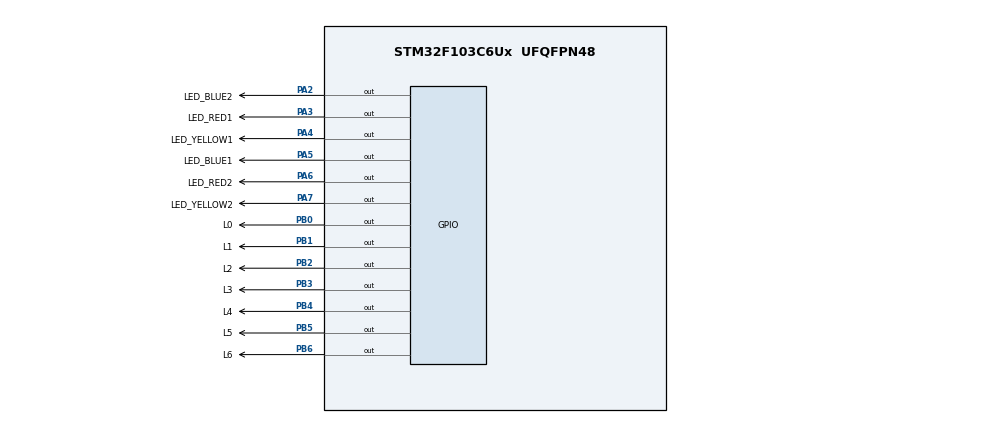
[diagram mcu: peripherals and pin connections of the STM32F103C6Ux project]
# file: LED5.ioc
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Mcu.Family=STM32F1
Mcu.Name=STM32F103C6Ux
Mcu.Package=UFQFPN48
NVIC.PriorityGroup=NVIC_PRIORITYGROUP_4
PA2.GPIO_Label=LED_BLUE2
PA2.Signal=GPIO_Output
PA3.GPIO_Label=LED_RED1
PA3.Signal=GPIO_Output
PA4.GPIO_Label=LED_YELLOW1
PA4.Signal=GPIO_Output
PA5.GPIO_Label=LED_BLUE1
PA5.Signal=GPIO_Output
PA6.GPIO_Label=LED_RED2
PA6.Signal=GPIO_Output
PA7.GPIO_Label=LED_YELLOW2
PA7.Signal=GPIO_Output
PB0.GPIO_Label=L0
PB0.Signal=GPIO_Output
PB1.GPIO_Label=L1
PB1.Signal=GPIO_Output
PB2.GPIO_Label=L2
PB2.Signal=GPIO_Output
PB3.GPIO_Label=L3
PB3.Signal=GPIO_Output
PB4.GPIO_Label=L4
PB4.Signal=GPIO_Output
PB5.GPIO_Label=L5
PB5.Signal=GPIO_Output
PB6.GPIO_Label=L6
PB6.Signal=GPIO_Output
ProjectManager.HeapSize=0x200
ProjectManager.StackSize=0x400
ProjectManager.TargetToolchain=STM32CubeIDE
RCC.APB1Freq_Value=8000000
RCC.APB2Freq_Value=8000000
VP_SYS_VS_ND.Mode=No_Debug
board=custom

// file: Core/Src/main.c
/* USER CODE BEGIN Header */
/**
  ******************************************************************************
  * @file           : main.c
  * @brief          : Main program body
  ******************************************************************************
  * @attention
  *
  * <h2><center>&copy; Copyright (c) 2022 STMicroelectronics.
  * All rights reserved.</center></h2>
  *
  * This software component is licensed by ST under BSD 3-Clause license,
  * the "License"; You may not use this file except in compliance with the
  * License. You may obtain a copy of the License at:
  *                        opensource.org/licenses/BSD-3-Clause
  *
  ******************************************************************************
  */
/* USER CODE END Header */
#include "main.h"

void SystemClock_Config(void);
static void MX_GPIO_Init(void);

int main(void)
{

  /* MCU Configuration--------------------------------------------------------*/

  /* Reset of all peripherals, Initializes the Flash interface and the Systick. */
  HAL_Init();

  /* Configure the system clock */
  SystemClock_Config();

  /* Initialize all configured peripherals */
  MX_GPIO_Init();
  /* USER CODE BEGIN 2 */
  void reset()//tat tat ca den
     {
   	HAL_GPIO_WritePin(L0_GPIO_Port, L0_Pin, 1);
   	HAL_GPIO_WritePin(L1_GPIO_Port, L1_Pin, 1);
   	HAL_GPIO_WritePin(L2_GPIO_Port, L2_Pin, 1);
   	HAL_GPIO_WritePin(L3_GPIO_Port, L3_Pin, 1);
   	HAL_GPIO_WritePin(L4_GPIO_Port, L4_Pin, 1);
   	HAL_GPIO_WritePin(L5_GPIO_Port, L5_Pin, 1);
   	HAL_GPIO_WritePin(L6_GPIO_Port, L6_Pin, 1);

     }
  void display7SEG(int nums)
      {
	  reset();
	  switch(nums)
	  {
	  case 0://so 0
	  {
		HAL_GPIO_WritePin(L0_GPIO_Port, L0_Pin, 0);
		HAL_GPIO_WritePin(L1_GPIO_Port, L1_Pin, 0);
		HAL_GPIO_WritePin(L2_GPIO_Port, L2_Pin, 0);
		HAL_GPIO_WritePin(L3_GPIO_Port, L3_Pin, 0);
		HAL_GPIO_WritePin(L4_GPIO_Port, L4_Pin, 0);
		HAL_GPIO_WritePin(L5_GPIO_Port, L5_Pin, 0);
		break;
	  }
	  case 1://so 1
	  {
		HAL_GPIO_WritePin(L1_GPIO_Port, L1_Pin, 0);
		HAL_GPIO_WritePin(L2_GPIO_Port, L2_Pin, 0);
		break;
	  }
	  case 2:{//so 2
			HAL_GPIO_WritePin(L0_GPIO_Port, L0_Pin, 0);
			HAL_GPIO_WritePin(L1_GPIO_Port, L1_Pin, 0);
			HAL_GPIO_WritePin(L3_GPIO_Port, L3_Pin, 0);
			HAL_GPIO_WritePin(L4_GPIO_Port, L4_Pin, 0);
			HAL_GPIO_WritePin(L6_GPIO_Port, L6_Pin, 0);
			break;
		  }
	  case 3:{//so 3
			HAL_GPIO_WritePin(L0_GPIO_Port, L0_Pin, 0);
			HAL_GPIO_WritePin(L1_GPIO_Port, L1_Pin, 0);
			HAL_GPIO_WritePin(L2_GPIO_Port, L2_Pin, 0);
			HAL_GPIO_WritePin(L3_GPIO_Port, L3_Pin, 0);
			HAL_GPIO_WritePin(L6_GPIO_Port, L6_Pin, 0);
			break;
		  }
	  case 4:{//so 4
			HAL_GPIO_WritePin(L1_GPIO_Port, L1_Pin, 0);
			HAL_GPIO_WritePin(L2_GPIO_Port, L2_Pin, 0);
			HAL_GPIO_WritePin(L5_GPIO_Port, L5_Pin, 0);
			HAL_GPIO_WritePin(L6_GPIO_Port, L6_Pin, 0);
			break;
		  }
	  case 5:{//so 5
			HAL_GPIO_WritePin(L0_GPIO_Port, L0_Pin, 0);
			HAL_GPIO_WritePin(L2_GPIO_Port, L2_Pin, 0);
			HAL_GPIO_WritePin(L3_GPIO_Port, L3_Pin, 0);
			HAL_GPIO_WritePin(L5_GPIO_Port, L5_Pin, 0);
			HAL_GPIO_WritePin(L6_GPIO_Port, L6_Pin, 0);
			break;
		  }
	  case 6:{//so 6
			HAL_GPIO_WritePin(L0_GPIO_Port, L0_Pin, 0);
			HAL_GPIO_WritePin(L2_GPIO_Port, L2_Pin, 0);
			HAL_GPIO_WritePin(L3_GPIO_Port, L3_Pin, 0);
			HAL_GPIO_WritePin(L4_GPIO_Port, L4_Pin, 0);
			HAL_GPIO_WritePin(L5_GPIO_Port, L5_Pin, 0);
			HAL_GPIO_WritePin(L6_GPIO_Port, L6_Pin, 0);
			break;
		  }
	  case 7:{//so 7
			HAL_GPIO_WritePin(L0_GPIO_Port, L0_Pin, 0);
			HAL_GPIO_WritePin(L1_GPIO_Port, L1_Pin, 0);
			HAL_GPIO_WritePin(L2_GPIO_Port, L2_Pin, 0);
			break;
		  }
	  case 8:{//so 8
			HAL_GPIO_WritePin(L0_GPIO_Port, L0_Pin, 0);
			HAL_GPIO_WritePin(L1_GPIO_Port, L1_Pin, 0);
			HAL_GPIO_WritePin(L2_GPIO_Port, L2_Pin, 0);
			HAL_GPIO_WritePin(L3_GPIO_Port, L3_Pin, 0);
			HAL_GPIO_WritePin(L4_GPIO_Port, L4_Pin, 0);
			HAL_GPIO_WritePin(L5_GPIO_Port, L5_Pin, 0);
			HAL_GPIO_WritePin(L6_GPIO_Port, L6_Pin, 0);
			break;
		  }
	  case 9:{//so 9
			HAL_GPIO_WritePin(L0_GPIO_Port, L0_Pin, 0);
			HAL_GPIO_WritePin(L1_GPIO_Port, L1_Pin, 0);
			HAL_GPIO_WritePin(L2_GPIO_Port, L2_Pin, 0);
			HAL_GPIO_WritePin(L3_GPIO_Port, L3_Pin, 0);
			HAL_GPIO_WritePin(L5_GPIO_Port, L5_Pin, 0);
			HAL_GPIO_WritePin(L6_GPIO_Port, L6_Pin, 0);
			break;
	  default : break;}
	  }
      }
  	  // 1 la off, 0 la on;
  	     int count_led_do_1=9;
		 int count_led_vang_1=2;
		 int count_led_xanh_1=6;
  /* USER CODE END 2 */

  /* Infinite loop */
  	 /* USER CODE BEGIN WHILE */
	   while (1)
	   {
		   //den do sang 10s , den vang sang 3 giay, den xanh sang 7s

		  if(count_led_do_1>=3)
		 {
			  HAL_GPIO_WritePin(LED_RED1_GPIO_Port, LED_RED1_Pin, 0);
			  HAL_GPIO_WritePin(LED_YELLOW1_GPIO_Port, LED_YELLOW1_Pin, 1);
			  HAL_GPIO_WritePin(LED_BLUE1_GPIO_Port, LED_BLUE1_Pin, 1);
			  HAL_GPIO_WritePin(LED_RED2_GPIO_Port, LED_RED2_Pin, 1);
			  HAL_GPIO_WritePin(LED_YELLOW2_GPIO_Port, LED_YELLOW2_Pin, 1);
			  HAL_GPIO_WritePin(LED_BLUE2_GPIO_Port, LED_BLUE2_Pin, 0);
			  display7SEG(count_led_do_1);count_led_do_1--;
		 }
		  else if(count_led_do_1>=0&&count_led_do_1<=2)
		 {
			  HAL_GPIO_WritePin(LED_RED1_GPIO_Port, LED_RED1_Pin, 0);
			  HAL_GPIO_WritePin(LED_YELLOW1_GPIO_Port, LED_YELLOW1_Pin, 1);
			  HAL_GPIO_WritePin(LED_BLUE1_GPIO_Port, LED_BLUE1_Pin, 1);
			  HAL_GPIO_WritePin(LED_RED2_GPIO_Port, LED_RED2_Pin, 1);
			  HAL_GPIO_WritePin(LED_YELLOW2_GPIO_Port, LED_YELLOW2_Pin, 0);
			  HAL_GPIO_WritePin(LED_BLUE2_GPIO_Port, LED_BLUE2_Pin, 1);
			  display7SEG(count_led_do_1);count_led_do_1-- ;
		 }
		  else if(count_led_do_1<0&&count_led_xanh_1>=0)
		 {
			  HAL_GPIO_WritePin(LED_RED1_GPIO_Port, LED_RED1_Pin, 1);
			  HAL_GPIO_WritePin(LED_YELLOW1_GPIO_Port, LED_YELLOW1_Pin, 1);
			  HAL_GPIO_WritePin(LED_BLUE1_GPIO_Port, LED_BLUE1_Pin, 0);
			  HAL_GPIO_WritePin(LED_RED2_GPIO_Port, LED_RED2_Pin, 0);
			  HAL_GPIO_WritePin(LED_YELLOW2_GPIO_Port, LED_YELLOW2_Pin,1);
			  HAL_GPIO_WritePin(LED_BLUE2_GPIO_Port, LED_BLUE2_Pin, 1);
			  display7SEG(count_led_xanh_1);count_led_xanh_1--;
		 }
		  else if(count_led_do_1<0&&count_led_xanh_1<0&&count_led_vang_1>=0)
		 {
			  HAL_GPIO_WritePin(LED_RED1_GPIO_Port, LED_RED1_Pin, 1);
			  HAL_GPIO_WritePin(LED_YELLOW1_GPIO_Port, LED_YELLOW1_Pin, 0);
			  HAL_GPIO_WritePin(LED_BLUE1_GPIO_Port, LED_BLUE1_Pin, 1);
			  HAL_GPIO_WritePin(LED_RED2_GPIO_Port, LED_RED2_Pin, 0);
			  HAL_GPIO_WritePin(LED_YELLOW2_GPIO_Port, LED_YELLOW2_Pin, 1);
			  HAL_GPIO_WritePin(LED_BLUE2_GPIO_Port, LED_BLUE2_Pin, 1);
			  display7SEG(count_led_vang_1);count_led_vang_1--;

		 }
		   if(count_led_vang_1<0){count_led_do_1=9;count_led_vang_1=2;count_led_xanh_1=6;}
		 HAL_Delay(1000);
	     /* USER CODE END WHILE */

  }
}

void SystemClock_Config(void)
{
  RCC_OscInitTypeDef RCC_OscInitStruct = {0};
  RCC_ClkInitTypeDef RCC_ClkInitStruct = {0};

  /** Initializes the RCC Oscillators according to the specified parameters
  * in the RCC_OscInitTypeDef structure.
  */
  RCC_OscInitStruct.OscillatorType = RCC_OSCILLATORTYPE_HSI;
  RCC_OscInitStruct.HSIState = RCC_HSI_ON;
  RCC_OscInitStruct.HSICalibrationValue = RCC_HSICALIBRATION_DEFAULT;
  RCC_OscInitStruct.PLL.PLLState = RCC_PLL_NONE;
  if (HAL_RCC_OscConfig(&RCC_OscInitStruct) != HAL_OK)
  {
    Error_Handler();
  }
  /** Initializes the CPU, AHB and APB buses clocks
  */
  RCC_ClkInitStruct.ClockType = RCC_CLOCKTYPE_HCLK|RCC_CLOCKTYPE_SYSCLK
                              |RCC_CLOCKTYPE_PCLK1|RCC_CLOCKTYPE_PCLK2;
  RCC_ClkInitStruct.SYSCLKSource = RCC_SYSCLKSOURCE_HSI;
  RCC_ClkInitStruct.AHBCLKDivider = RCC_SYSCLK_DIV1;
  RCC_ClkInitStruct.APB1CLKDivider = RCC_HCLK_DIV1;
  RCC_ClkInitStruct.APB2CLKDivider = RCC_HCLK_DIV1;

  if (HAL_RCC_ClockConfig(&RCC_ClkInitStruct, FLASH_LATENCY_0) != HAL_OK)
  {
    Error_Handler();
  }
}

static void MX_GPIO_Init(void)
{
  GPIO_InitTypeDef GPIO_InitStruct = {0};

  /* GPIO Ports Clock Enable */
  __HAL_RCC_GPIOA_CLK_ENABLE();
  __HAL_RCC_GPIOB_CLK_ENABLE();

  /*Configure GPIO pin Output Level */
  HAL_GPIO_WritePin(GPIOA, LED_BLUE2_Pin|LED_RED1_Pin|LED_YELLOW1_Pin|LED_BLUE1_Pin
                          |LED_RED2_Pin|LED_YELLOW2_Pin, GPIO_PIN_RESET);

  /*Configure GPIO pin Output Level */
  HAL_GPIO_WritePin(GPIOB, L0_Pin|L1_Pin|L2_Pin|L3_Pin
                          |L4_Pin|L5_Pin|L6_Pin, GPIO_PIN_RESET);

  /*Configure GPIO pins : LED_BLUE2_Pin LED_RED1_Pin LED_YELLOW1_Pin LED_BLUE1_Pin
                           LED_RED2_Pin LED_YELLOW2_Pin */
  GPIO_InitStruct.Pin = LED_BLUE2_Pin|LED_RED1_Pin|LED_YELLOW1_Pin|LED_BLUE1_Pin
                          |LED_RED2_Pin|LED_YELLOW2_Pin;
  GPIO_InitStruct.Mode = GPIO_MODE_OUTPUT_PP;
  GPIO_InitStruct.Pull = GPIO_NOPULL;
  GPIO_InitStruct.Speed = GPIO_SPEED_FREQ_LOW;
  HAL_GPIO_Init(GPIOA, &GPIO_InitStruct);

  /*Configure GPIO pins : L0_Pin L1_Pin L2_Pin L3_Pin
                           L4_Pin L5_Pin L6_Pin */
  GPIO_InitStruct.Pin = L0_Pin|L1_Pin|L2_Pin|L3_Pin
                          |L4_Pin|L5_Pin|L6_Pin;
  GPIO_InitStruct.Mode = GPIO_MODE_OUTPUT_PP;
  GPIO_InitStruct.Pull = GPIO_NOPULL;
  GPIO_InitStruct.Speed = GPIO_SPEED_FREQ_LOW;
  HAL_GPIO_Init(GPIOB, &GPIO_InitStruct);

}

void Error_Handler(void)
{
  __disable_irq();
  while (1)
  {
  }
}

/************************ (C) COPYRIGHT STMicroelectronics *****END OF FILE****/
